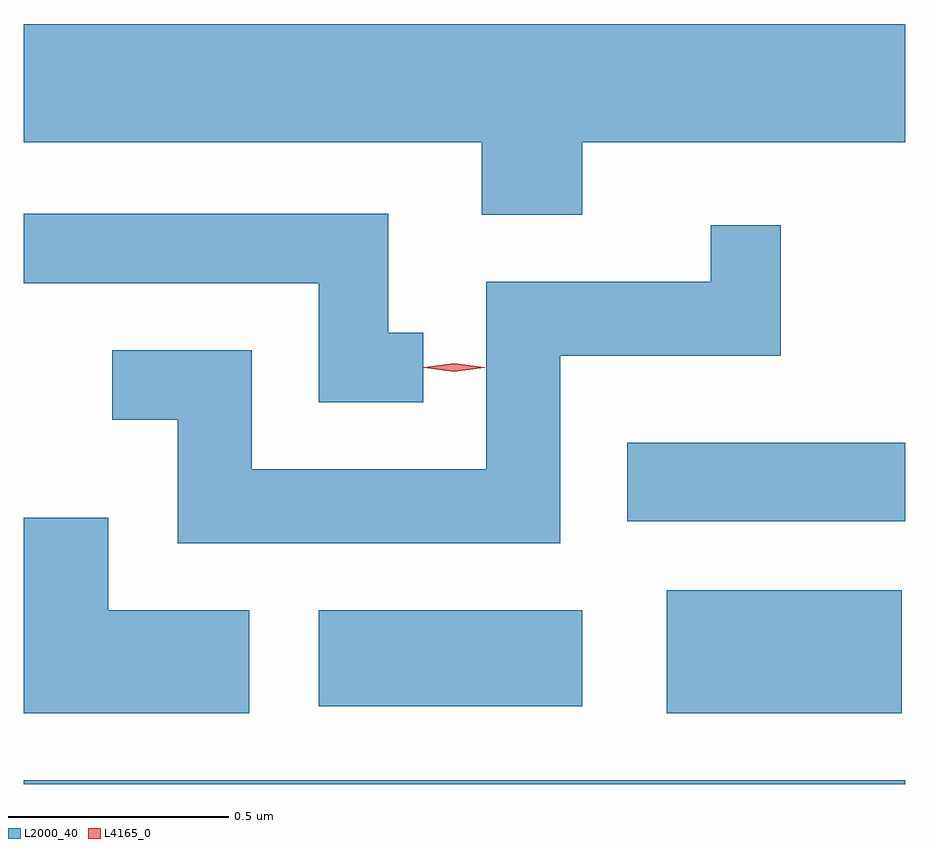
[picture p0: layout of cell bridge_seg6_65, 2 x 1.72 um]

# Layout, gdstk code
import gdstk
lib = gdstk.Library(unit=1e-6, precision=1e-09)
def R(c, l, rs):  # rectangles x0, y0, x1, y1
    for r in rs: c.add(gdstk.rectangle(r[:2], r[2:], *l))
def P(c, l, *ps):  # polygons
    for p in ps: c.add(gdstk.Polygon(p, *l))
L2000_40 = (2000, 40)
L4165_0 = (4165, 0)

bridge_seg6_65 = lib.new_cell('bridge_seg6_65')
R(bridge_seg6_65, L2000_40, [(1249.902,1619.62,1251.902,1619.629), (1251.361,1619.781,1251.894,1620.059), (1250.571,1619.796,1251.169,1620.014), (1251.271,1620.216,1251.902,1620.394)])
P(bridge_seg6_65, L2000_40, [(1251.169,1621.076),(1251.902,1621.076),(1251.902,1621.344),(1249.902,1621.344),(1249.902,1621.076),(1250.941,1621.076),(1250.941,1620.911),(1251.169,1620.911)],
  [(1250.808,1620.644),(1250.729,1620.644),(1250.729,1620.914),(1249.902,1620.914),(1249.902,1620.756),(1250.571,1620.756),(1250.571,1620.486),(1250.808,1620.486)],
  [(1251.119,1620.591),(1251.619,1620.591),(1251.619,1620.888),(1251.461,1620.888),(1251.461,1620.759),(1250.951,1620.759),(1250.951,1620.334),(1250.419,1620.334),(1250.419,1620.604),(1250.103,1620.604),(1250.103,1620.446),(1250.251,1620.446),(1250.251,1620.166),(1251.119,1620.166)],
  [(1250.414,1620.014),(1250.094,1620.014),(1250.094,1620.224),(1249.902,1620.224),(1249.902,1619.781),(1250.414,1619.781)])
P(bridge_seg6_65, L4165_0, [(1250.878,1620.555),(1250.809,1620.564),(1250.809,1620.565),(1250.809,1620.565),(1250.878,1620.575),(1250.948,1620.565),(1250.948,1620.564),(1250.948,1620.564)])

lib.write_gds('bridge_seg6_65.gds')
